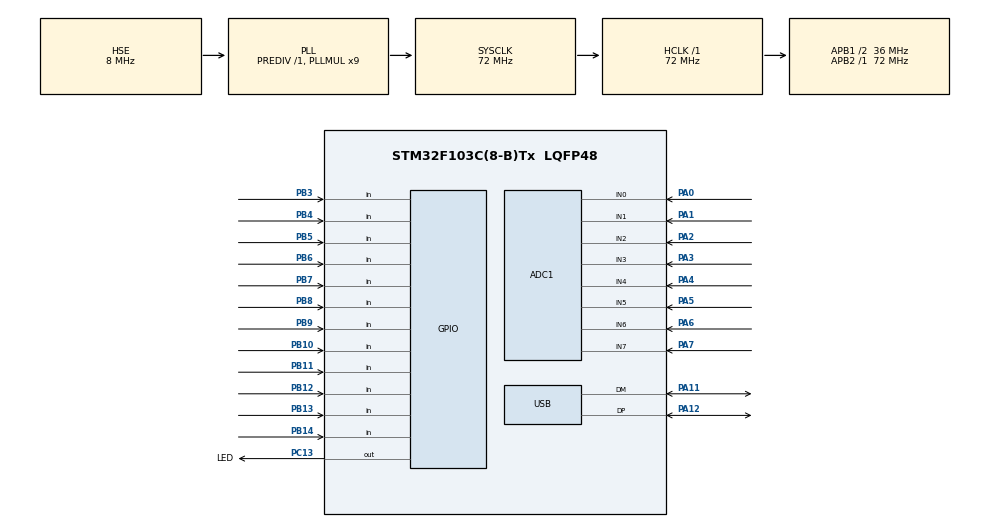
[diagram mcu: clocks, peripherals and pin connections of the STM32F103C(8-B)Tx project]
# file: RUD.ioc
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ADC1.Channel-10\#ChannelRegularConversion=ADC_CHANNEL_5
ADC1.Channel-11\#ChannelRegularConversion=ADC_CHANNEL_6
ADC1.Channel-12\#ChannelRegularConversion=ADC_CHANNEL_7
ADC1.Channel-5\#ChannelRegularConversion=ADC_CHANNEL_0
ADC1.Channel-6\#ChannelRegularConversion=ADC_CHANNEL_1
ADC1.Channel-7\#ChannelRegularConversion=ADC_CHANNEL_2
ADC1.Channel-8\#ChannelRegularConversion=ADC_CHANNEL_3
ADC1.Channel-9\#ChannelRegularConversion=ADC_CHANNEL_4
ADC1.EnableRegularConversion=ENABLE
ADC1.InjNumberOfConversion=0
ADC1.NbrOfConversion=8
ADC1.NbrOfConversionFlag=1
ADC1.Rank-10\#ChannelRegularConversion=6
ADC1.Rank-11\#ChannelRegularConversion=7
ADC1.Rank-12\#ChannelRegularConversion=8
ADC1.Rank-5\#ChannelRegularConversion=1
ADC1.Rank-6\#ChannelRegularConversion=2
ADC1.Rank-7\#ChannelRegularConversion=3
ADC1.Rank-8\#ChannelRegularConversion=4
ADC1.Rank-9\#ChannelRegularConversion=5
ADC1.SamplingTime-10\#ChannelRegularConversion=ADC_SAMPLETIME_71CYCLES_5
ADC1.SamplingTime-11\#ChannelRegularConversion=ADC_SAMPLETIME_71CYCLES_5
ADC1.SamplingTime-12\#ChannelRegularConversion=ADC_SAMPLETIME_71CYCLES_5
ADC1.SamplingTime-5\#ChannelRegularConversion=ADC_SAMPLETIME_71CYCLES_5
ADC1.SamplingTime-6\#ChannelRegularConversion=ADC_SAMPLETIME_71CYCLES_5
ADC1.SamplingTime-7\#ChannelRegularConversion=ADC_SAMPLETIME_71CYCLES_5
ADC1.SamplingTime-8\#ChannelRegularConversion=ADC_SAMPLETIME_71CYCLES_5
ADC1.SamplingTime-9\#ChannelRegularConversion=ADC_SAMPLETIME_71CYCLES_5
ADC1.master=1
Dma.ADC1.0.Direction=DMA_PERIPH_TO_MEMORY
Dma.ADC1.0.Instance=DMA1_Channel1
Dma.ADC1.0.MemDataAlignment=DMA_MDATAALIGN_HALFWORD
Dma.ADC1.0.MemInc=DMA_MINC_ENABLE
Dma.ADC1.0.Mode=DMA_NORMAL
Dma.ADC1.0.PeriphDataAlignment=DMA_PDATAALIGN_HALFWORD
Dma.ADC1.0.PeriphInc=DMA_PINC_DISABLE
Dma.ADC1.0.Priority=DMA_PRIORITY_LOW
Dma.Request0=ADC1
Mcu.Family=STM32F1
Mcu.Name=STM32F103C(8-B)Tx
Mcu.Package=LQFP48
NVIC.DMA1_Channel1_IRQn=true\:0\:0\:false\:false\:true\:false
NVIC.PriorityGroup=NVIC_PRIORITYGROUP_4
NVIC.USB_LP_CAN1_RX0_IRQn=true\:0\:0\:false\:false\:true\:false
PA0-WKUP.Signal=ADCx_IN0
PA1.Signal=ADCx_IN1
PA11.Mode=Device
PA11.Signal=USB_DM
PA12.Mode=Device
PA12.Signal=USB_DP
PA13.Mode=Serial_Wire
PA13.Signal=SYS_JTMS-SWDIO
PA14.Mode=Serial_Wire
PA14.Signal=SYS_JTCK-SWCLK
PA2.Signal=ADCx_IN2
PA3.Signal=ADCx_IN3
PA4.Signal=ADCx_IN4
PA5.Signal=ADCx_IN5
PA6.Signal=ADCx_IN6
PA7.Signal=ADCx_IN7
PB10.Signal=GPIO_Input
PB11.Signal=GPIO_Input
PB12.Signal=GPIO_Input
PB13.Signal=GPIO_Input
PB14.Signal=GPIO_Input
PB3.Signal=GPIO_Input
PB4.Signal=GPIO_Input
PB5.Signal=GPIO_Input
PB6.Signal=GPIO_Input
PB7.Signal=GPIO_Input
PB8.Signal=GPIO_Input
PB9.Signal=GPIO_Input
PC13-TAMPER-RTC.GPIO_Label=LED
PC13-TAMPER-RTC.Signal=GPIO_Output
PC14-OSC32_IN.Mode=LSE-External-Oscillator
PC14-OSC32_IN.Signal=RCC_OSC32_IN
PC15-OSC32_OUT.Mode=LSE-External-Oscillator
PC15-OSC32_OUT.Signal=RCC_OSC32_OUT
PD0-OSC_IN.Mode=HSE-External-Oscillator
PD0-OSC_IN.Signal=RCC_OSC_IN
PD1-OSC_OUT.Mode=HSE-External-Oscillator
PD1-OSC_OUT.Signal=RCC_OSC_OUT
ProjectManager.HeapSize=0x200
ProjectManager.StackSize=0x400
ProjectManager.TargetToolchain=SW4STM32
RCC.ADCPresc=RCC_ADCPCLK2_DIV6
RCC.AHBFreq_Value=72000000
RCC.APB1CLKDivider=RCC_HCLK_DIV2
RCC.APB1Freq_Value=36000000
RCC.APB1TimFreq_Value=72000000
RCC.APB2Freq_Value=72000000
RCC.APB2TimFreq_Value=72000000
RCC.HCLKFreq_Value=72000000
RCC.PLLMUL=RCC_PLL_MUL9
RCC.SYSCLKFreq_VALUE=72000000
RCC.SYSCLKSource=RCC_SYSCLKSOURCE_PLLCLK
RCC.USBFreq_Value=48000000
RCC.USBPrescaler=RCC_USBCLKSOURCE_PLL_DIV1_5
SH.ADCx_IN0.0=ADC1_IN0,IN0
SH.ADCx_IN1.0=ADC1_IN1,IN1
SH.ADCx_IN2.0=ADC1_IN2,IN2
SH.ADCx_IN3.0=ADC1_IN3,IN3
SH.ADCx_IN4.0=ADC1_IN4,IN4
SH.ADCx_IN5.0=ADC1_IN5,IN5
SH.ADCx_IN6.0=ADC1_IN6,IN6
SH.ADCx_IN7.0=ADC1_IN7,IN7
USB_DEVICE.CLASS_NAME_FS=HID
USB_DEVICE.MANUFACTURER_STRING=SergFEAR
USB_DEVICE.PRODUCT_STRING_HID_FS=SergFEAR RUD
USB_DEVICE.VirtualMode=Hid
USB_DEVICE.VirtualModeFS=Hid_FS
VP_CRC_VS_CRC.Mode=CRC_Activate
VP_USB_DEVICE_VS_USB_DEVICE_HID_FS.Mode=HID_FS
board=custom

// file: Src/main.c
/* USER CODE BEGIN Header */
/**
  ******************************************************************************
  * @file           : main.c
  * @brief          : Main program body
  ******************************************************************************
  * This notice applies to any and all portions of this file
  * that are not between comment pairs USER CODE BEGIN and
  * USER CODE END. Other portions of this file, whether
  * inserted by the user or by software development tools
  * are owned by their respective copyright owners.
  *
  * Copyright (c) 2020 STMicroelectronics International N.V.
  * All rights reserved.
  *
  * Redistribution and use in source and binary forms, with or without
  * modification, are permitted, provided that the following conditions are met:
  *
  * 1. Redistribution of source code must retain the above copyright notice,
  *    this list of conditions and the following disclaimer.
  * 2. Redistributions in binary form must reproduce the above copyright notice,
  *    this list of conditions and the following disclaimer in the documentation
  *    and/or other materials provided with the distribution.
  * 3. Neither the name of STMicroelectronics nor the names of other
  *    contributors to this software may be used to endorse or promote products
  *    derived from this software without specific written permission.
  * 4. This software, including modifications and/or derivative works of this
  *    software, must execute solely and exclusively on microcontroller or
  *    microprocessor devices manufactured by or for STMicroelectronics.
  * 5. Redistribution and use of this software other than as permitted under
  *    this license is void and will automatically terminate your rights under
  *    this license.
  *
  * THIS SOFTWARE IS PROVIDED BY STMICROELECTRONICS AND CONTRIBUTORS "AS IS"
  * AND ANY EXPRESS, IMPLIED OR STATUTORY WARRANTIES, INCLUDING, BUT NOT
  * LIMITED TO, THE IMPLIED WARRANTIES OF MERCHANTABILITY, FITNESS FOR A
  * PARTICULAR PURPOSE AND NON-INFRINGEMENT OF THIRD PARTY INTELLECTUAL PROPERTY
  * RIGHTS ARE DISCLAIMED TO THE FULLEST EXTENT PERMITTED BY LAW. IN NO EVENT
  * SHALL STMICROELECTRONICS OR CONTRIBUTORS BE LIABLE FOR ANY DIRECT, INDIRECT,
  * INCIDENTAL, SPECIAL, EXEMPLARY, OR CONSEQUENTIAL DAMAGES (INCLUDING, BUT NOT
  * LIMITED TO, PROCUREMENT OF SUBSTITUTE GOODS OR SERVICES; LOSS OF USE, DATA,
  * OR PROFITS; OR BUSINESS INTERRUPTION) HOWEVER CAUSED AND ON ANY THEORY OF
  * LIABILITY, WHETHER IN CONTRACT, STRICT LIABILITY, OR TORT (INCLUDING
  * NEGLIGENCE OR OTHERWISE) ARISING IN ANY WAY OUT OF THE USE OF THIS SOFTWARE,
  * EVEN IF ADVISED OF THE POSSIBILITY OF SUCH DAMAGE.
  *
  ******************************************************************************
  */
/* USER CODE END Header */

#include "main.h"
#include "usb_device.h"

/* USER CODE BEGIN Includes */
#include "usbd_hid.h"

/* USER CODE END Includes */

ADC_HandleTypeDef hadc1;
DMA_HandleTypeDef hdma_adc1;

CRC_HandleTypeDef hcrc;

/* USER CODE BEGIN PV */
extern USBD_HandleTypeDef  hUsbDeviceFS;

uint16_t readADC[8];
uint16_t readADC_OLD[8];
uint16_t RUD_DATA[9];
/* USER CODE END PV */

void SystemClock_Config(void);
static void MX_GPIO_Init(void);
static void MX_DMA_Init(void);
static void MX_ADC1_Init(void);
static void MX_CRC_Init(void);

int main(void)
{

  /* MCU Configuration--------------------------------------------------------*/

  /* Reset of all peripherals, Initializes the Flash interface and the Systick. */
  HAL_Init();

  /* Configure the system clock */
  SystemClock_Config();

  /* Initialize all configured peripherals */
  MX_GPIO_Init();
  MX_DMA_Init();
  MX_USB_DEVICE_Init();
  MX_ADC1_Init();
  MX_CRC_Init();
  /* USER CODE BEGIN 2 */
  HAL_ADCEx_Calibration_Start(&hadc1);// калибруем АЦП
  HAL_ADC_Start_DMA(&hadc1,(uint32_t *)&readADC,8);// Стартуем ПДП
  /* USER CODE END 2 */

  /* Infinite loop */
  while (1)
  {

    /* USER CODE BEGIN 3 */
	  HAL_GPIO_TogglePin(LED_GPIO_Port, LED_Pin);
	  HAL_Delay(500); // мыргаем светодиодом на 13 лапе от нефиг делать
  }
  /* USER CODE END 3 */
}

void SystemClock_Config(void)
{
  RCC_OscInitTypeDef RCC_OscInitStruct = {0};
  RCC_ClkInitTypeDef RCC_ClkInitStruct = {0};
  RCC_PeriphCLKInitTypeDef PeriphClkInit = {0};

  /**Initializes the CPU, AHB and APB busses clocks
  */
  RCC_OscInitStruct.OscillatorType = RCC_OSCILLATORTYPE_HSE;
  RCC_OscInitStruct.HSEState = RCC_HSE_ON;
  RCC_OscInitStruct.HSEPredivValue = RCC_HSE_PREDIV_DIV1;
  RCC_OscInitStruct.HSIState = RCC_HSI_ON;
  RCC_OscInitStruct.PLL.PLLState = RCC_PLL_ON;
  RCC_OscInitStruct.PLL.PLLSource = RCC_PLLSOURCE_HSE;
  RCC_OscInitStruct.PLL.PLLMUL = RCC_PLL_MUL9;
  if (HAL_RCC_OscConfig(&RCC_OscInitStruct) != HAL_OK)
  {
    Error_Handler();
  }
  /**Initializes the CPU, AHB and APB busses clocks
  */
  RCC_ClkInitStruct.ClockType = RCC_CLOCKTYPE_HCLK|RCC_CLOCKTYPE_SYSCLK
                              |RCC_CLOCKTYPE_PCLK1|RCC_CLOCKTYPE_PCLK2;
  RCC_ClkInitStruct.SYSCLKSource = RCC_SYSCLKSOURCE_PLLCLK;
  RCC_ClkInitStruct.AHBCLKDivider = RCC_SYSCLK_DIV1;
  RCC_ClkInitStruct.APB1CLKDivider = RCC_HCLK_DIV2;
  RCC_ClkInitStruct.APB2CLKDivider = RCC_HCLK_DIV1;

  if (HAL_RCC_ClockConfig(&RCC_ClkInitStruct, FLASH_LATENCY_2) != HAL_OK)
  {
    Error_Handler();
  }
  PeriphClkInit.PeriphClockSelection = RCC_PERIPHCLK_ADC|RCC_PERIPHCLK_USB;
  PeriphClkInit.AdcClockSelection = RCC_ADCPCLK2_DIV6;
  PeriphClkInit.UsbClockSelection = RCC_USBCLKSOURCE_PLL_DIV1_5;
  if (HAL_RCCEx_PeriphCLKConfig(&PeriphClkInit) != HAL_OK)
  {
    Error_Handler();
  }
}

static void MX_ADC1_Init(void)
{

  ADC_ChannelConfTypeDef sConfig = {0};

  /**Common config
  */
  hadc1.Instance = ADC1;
  hadc1.Init.ScanConvMode = ADC_SCAN_ENABLE;
  hadc1.Init.ContinuousConvMode = DISABLE;
  hadc1.Init.DiscontinuousConvMode = DISABLE;
  hadc1.Init.ExternalTrigConv = ADC_SOFTWARE_START;
  hadc1.Init.DataAlign = ADC_DATAALIGN_RIGHT;
  hadc1.Init.NbrOfConversion = 8;
  if (HAL_ADC_Init(&hadc1) != HAL_OK)
  {
    Error_Handler();
  }
  /**Configure Regular Channel
  */
  sConfig.Channel = ADC_CHANNEL_0;
  sConfig.Rank = ADC_REGULAR_RANK_1;
  sConfig.SamplingTime = ADC_SAMPLETIME_71CYCLES_5;
  if (HAL_ADC_ConfigChannel(&hadc1, &sConfig) != HAL_OK)
  {
    Error_Handler();
  }
  /**Configure Regular Channel
  */
  sConfig.Channel = ADC_CHANNEL_1;
  sConfig.Rank = ADC_REGULAR_RANK_2;
  if (HAL_ADC_ConfigChannel(&hadc1, &sConfig) != HAL_OK)
  {
    Error_Handler();
  }
  /**Configure Regular Channel
  */
  sConfig.Channel = ADC_CHANNEL_2;
  sConfig.Rank = ADC_REGULAR_RANK_3;
  if (HAL_ADC_ConfigChannel(&hadc1, &sConfig) != HAL_OK)
  {
    Error_Handler();
  }
  /**Configure Regular Channel
  */
  sConfig.Channel = ADC_CHANNEL_3;
  sConfig.Rank = ADC_REGULAR_RANK_4;
  if (HAL_ADC_ConfigChannel(&hadc1, &sConfig) != HAL_OK)
  {
    Error_Handler();
  }
  /**Configure Regular Channel
  */
  sConfig.Channel = ADC_CHANNEL_4;
  sConfig.Rank = ADC_REGULAR_RANK_5;
  if (HAL_ADC_ConfigChannel(&hadc1, &sConfig) != HAL_OK)
  {
    Error_Handler();
  }
  /**Configure Regular Channel
  */
  sConfig.Channel = ADC_CHANNEL_5;
  sConfig.Rank = ADC_REGULAR_RANK_6;
  if (HAL_ADC_ConfigChannel(&hadc1, &sConfig) != HAL_OK)
  {
    Error_Handler();
  }
  /**Configure Regular Channel
  */
  sConfig.Channel = ADC_CHANNEL_6;
  sConfig.Rank = ADC_REGULAR_RANK_7;
  if (HAL_ADC_ConfigChannel(&hadc1, &sConfig) != HAL_OK)
  {
    Error_Handler();
  }
  /**Configure Regular Channel
  */
  sConfig.Channel = ADC_CHANNEL_7;
  sConfig.Rank = ADC_REGULAR_RANK_8;
  if (HAL_ADC_ConfigChannel(&hadc1, &sConfig) != HAL_OK)
  {
    Error_Handler();
  }

}

static void MX_CRC_Init(void)
{

  hcrc.Instance = CRC;
  if (HAL_CRC_Init(&hcrc) != HAL_OK)
  {
    Error_Handler();
  }

}

static void MX_DMA_Init(void)
{
  /* DMA controller clock enable */
  __HAL_RCC_DMA1_CLK_ENABLE();

  /* DMA interrupt init */
  /* DMA1_Channel1_IRQn interrupt configuration */
  HAL_NVIC_SetPriority(DMA1_Channel1_IRQn, 0, 0);
  HAL_NVIC_EnableIRQ(DMA1_Channel1_IRQn);

}

static void MX_GPIO_Init(void)
{
  GPIO_InitTypeDef GPIO_InitStruct = {0};

  /* GPIO Ports Clock Enable */
  __HAL_RCC_GPIOC_CLK_ENABLE();
  __HAL_RCC_GPIOD_CLK_ENABLE();
  __HAL_RCC_GPIOA_CLK_ENABLE();
  __HAL_RCC_GPIOB_CLK_ENABLE();

  /*Configure GPIO pin Output Level */
  HAL_GPIO_WritePin(LED_GPIO_Port, LED_Pin, GPIO_PIN_RESET);

  /*Configure GPIO pin : LED_Pin */
  GPIO_InitStruct.Pin = LED_Pin;
  GPIO_InitStruct.Mode = GPIO_MODE_OUTPUT_PP;
  GPIO_InitStruct.Pull = GPIO_NOPULL;
  GPIO_InitStruct.Speed = GPIO_SPEED_FREQ_LOW;
  HAL_GPIO_Init(LED_GPIO_Port, &GPIO_InitStruct);

  /*Configure GPIO pins : PB10 PB11 PB12 PB13
                           PB14 PB3 PB4 PB5
                           PB6 PB7 PB8 PB9 */
  GPIO_InitStruct.Pin = GPIO_PIN_10|GPIO_PIN_11|GPIO_PIN_12|GPIO_PIN_13
                          |GPIO_PIN_14|GPIO_PIN_3|GPIO_PIN_4|GPIO_PIN_5
                          |GPIO_PIN_6|GPIO_PIN_7|GPIO_PIN_8|GPIO_PIN_9;
  GPIO_InitStruct.Mode = GPIO_MODE_INPUT;
  GPIO_InitStruct.Pull = GPIO_PULLUP;
  HAL_GPIO_Init(GPIOB, &GPIO_InitStruct);

}

/* USER CODE BEGIN 4 */
void HAL_ADC_ConvCpltCallback(ADC_HandleTypeDef* hadc) // оптрп - прерывание от ПДП
{
    if(hadc->Instance == ADC1)
    {
	HAL_ADC_Stop_DMA(&hadc1); // это х.з., вроде необязательно

	for (int i=0; i<8; i++) //колдуем с массивами
	{
		readADC[i]=readADC_OLD[i]*0.9f+readADC[i]*0.1f; // слегка фильтранём данные от АЦП
			  		  if (readADC[i] < 100)
			  			  	  readADC[i]=100;
			  		  if (readADC[i] > 4000)
			  		  		  readADC[i]=4000;  // режем края вся линейка 4095
			  		  readADC_OLD[i]=readADC[i]; // сохраняем для фильтра
			  		  RUD_DATA[i]=readADC[i] >> 2; // отдаём в HID, значения от 0 до 1000
			  		  readADC[i]=0; // обнуляем переменные
	}

			  RUD_DATA[8]= 0; // обнуляем переменную кнопок

			  if( HAL_GPIO_ReadPin(GPIOB, GPIO_PIN_3) == GPIO_PIN_RESET ) {
				  RUD_DATA[8] |=(1<<0);
			  }
			  if( HAL_GPIO_ReadPin(GPIOB, GPIO_PIN_4) == GPIO_PIN_RESET ) {
			  		  RUD_DATA[8] |=(1<<1);
			  	  }
			  if( HAL_GPIO_ReadPin(GPIOB, GPIO_PIN_5) == GPIO_PIN_RESET ) {
			  		  RUD_DATA[8] |=(1<<2);
			  	  }
			  if( HAL_GPIO_ReadPin(GPIOB, GPIO_PIN_6) == GPIO_PIN_RESET ) {
			  		  RUD_DATA[8] |=(1<<3);
			  	  }
			  if( HAL_GPIO_ReadPin(GPIOB, GPIO_PIN_7) == GPIO_PIN_RESET ) {
			  		  RUD_DATA[8] |=(1<<4);
			  	  }
			  if( HAL_GPIO_ReadPin(GPIOB, GPIO_PIN_8) == GPIO_PIN_RESET ) {
			  		  RUD_DATA[8] |=(1<<5);
			  	  }
			  if( HAL_GPIO_ReadPin(GPIOB, GPIO_PIN_9) == GPIO_PIN_RESET ) {
			  		  RUD_DATA[8] |=(1<<6);
			  	  }
			  if( HAL_GPIO_ReadPin(GPIOB, GPIO_PIN_10) == GPIO_PIN_RESET ) {
			  		  RUD_DATA[8] |=(1<<7);
			  	  }
			  if( HAL_GPIO_ReadPin(GPIOB, GPIO_PIN_11) == GPIO_PIN_RESET ) {
			  		  RUD_DATA[8] |=(1<<8);
			  	  }
			  if( HAL_GPIO_ReadPin(GPIOB, GPIO_PIN_12) == GPIO_PIN_RESET ) {
			  		  RUD_DATA[8] |=(1<<9);
			  	  }
			  if( HAL_GPIO_ReadPin(GPIOB, GPIO_PIN_13) == GPIO_PIN_RESET ) {
			  		  RUD_DATA[8] |=(1<<10);
			  	  }
			  if( HAL_GPIO_ReadPin(GPIOB, GPIO_PIN_14) == GPIO_PIN_RESET ) {
			  		  RUD_DATA[8] |=(1<<11); // записываем кнопки в переменную
			  	  }
			  USBD_HID_SendReport(&hUsbDeviceFS, (uint8_t*)&RUD_DATA, 18); // отправляем данные в USB
	}
	HAL_ADC_Start_DMA(&hadc1, (uint32_t*)&readADC, 8); //стартуем ПДП
}
/* USER CODE END 4 */

void Error_Handler(void)
{
}

/************************ (C) COPYRIGHT STMicroelectronics *****END OF FILE****/
